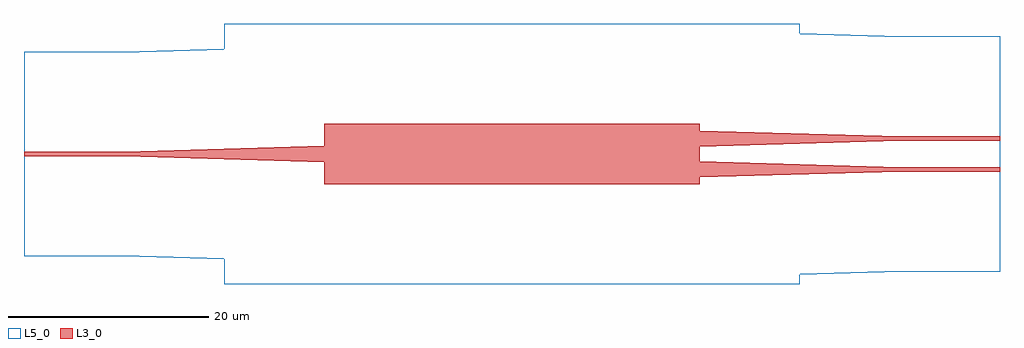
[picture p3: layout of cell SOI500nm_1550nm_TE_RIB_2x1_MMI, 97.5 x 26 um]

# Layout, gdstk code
import gdstk
lib = gdstk.Library(unit=1e-6, precision=1e-09)
def R(c, l, rs):  # rectangles x0, y0, x1, y1
    for r in rs: c.add(gdstk.rectangle(r[:2], r[2:], *l))
def P(c, l, *ps):  # polygons
    for p in ps: c.add(gdstk.Polygon(p, *l))
L3_0 = (3, 0)
L5_0 = (5, 0)

soi500nm_1550nm_te_rib_2 = lib.new_cell('SOI500nm_1550nm_TE_RIB_2x1_MMI')
R(soi500nm_1550nm_te_rib_2, L3_0, [(-19.315,-3,18.185,3), (38.185,-1.76,48.185,-1.31), (-49.315,-0.225,-39.315,0.225), (38.185,1.31,48.185,1.76)])
P(soi500nm_1550nm_te_rib_2, L3_0, [(-19.315,-0.8),(-39.315,-0.225),(-39.315,0.225),(-19.315,0.8)],
  [(18.185,0.735),(18.185,2.335),(38.185,1.76),(38.185,1.31)],
  [(18.185,-2.335),(18.185,-0.735),(38.185,-1.31),(38.185,-1.76)])
P(soi500nm_1550nm_te_rib_2, L5_0, [(-29.315,-13),(-29.315,-10.517),(-39.459,-10.225),(-49.315,-10.225),(-49.315,10.225),(-39.459,10.225),(-29.315,10.517),(-29.315,13),(28.185,13),(28.185,12.052),(38.329,11.76),(48.185,11.76),(48.185,-11.76),(38.329,-11.76),(28.185,-12.052),(28.185,-13)])

lib.write_gds('SOI500nm_1550nm_TE_RIB_2x1_MMI.gds')
